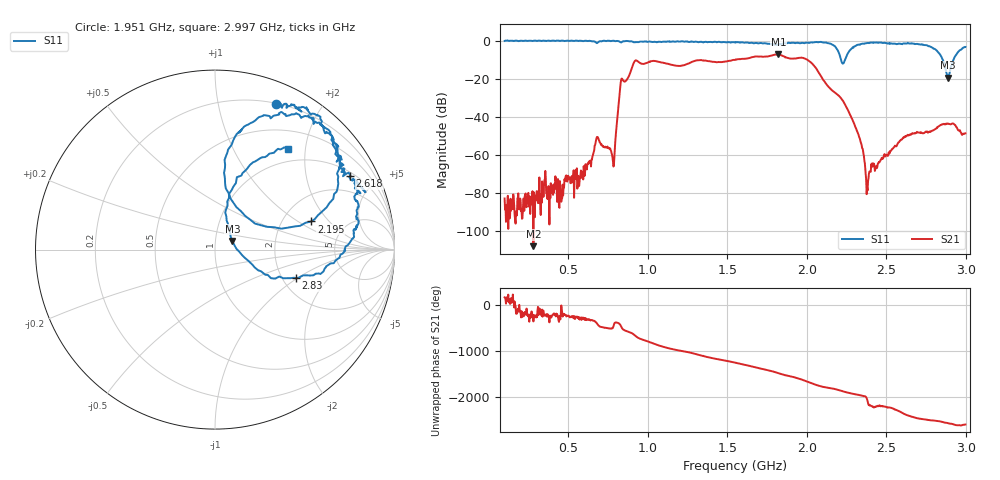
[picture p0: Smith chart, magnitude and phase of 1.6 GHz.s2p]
# HZ S RI R 50
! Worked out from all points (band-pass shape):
!   1009 points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, 100 MHz to 2.997 GHz, reference 50 ohm
!   highest |S21| = -7.00 dB at 1.822 GHz (marker M1); lowest = -108.0 dB at 281.1 MHz (marker M2)
!   |S21| within 3 dB of the highest: 1.537 GHz to 2.005 GHz (468.4 MHz wide, 26.4 % of centre)
!   lowest |S11| = -19.3 dB at 2.888 GHz (marker M3), VSWR 1.24, Z = 60.4 + j5.8 ohm
!   |S11| at or under -10 dB: 2.215 GHz to 2.24 GHz (24.77 MHz wide, 1.11 % of centre); 2.856 GHz to 2.921 GHz (65.7 MHz wide, 2.27 % of centre)
!   S12 and S22 are empty: the file has one direction only
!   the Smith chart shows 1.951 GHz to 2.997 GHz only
!   S11 on the Smith chart (normalised r, x): 1.951 GHz: 0.20, +1.49; 2.195 GHz: 2.87, +1.31; 2.618 GHz: 1.17, +3.58; 2.83 GHz: 2.37, -0.97; 2.997 GHz: 0.77, +1.68
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1e8  -0.9957 0.1035  -6.7e-05 2.6e-05  0 0  0 0
2.810704e8  -0.9715 0.2896  4e-06 0  0 0  0 0
5.828543e8  -0.8288 0.5789  0.000212 0.000133  0 0  0 0
6.805749e8  -0.6645 0.5719  0.00217 -0.00204  0 0  0 0
7.811695e8  -0.6914 0.7393  -0.00049 -0.000481  0 0  0 0
8.329039e8  -0.5875 0.6953  -0.0329 -0.0897  0 0  0 0
9.162538e8  -0.5202 0.7668  0.1126 0.2641  0 0  0 0
1.065709e9  -0.4481 0.8378  -0.257 -0.1255  0 0  0 0
1.321507e9  -0.1896 0.915  0.3107 -0.0127  0 0  0 0
1.548563e9  0.0347 0.9126  -0.3116 -0.0644  0 0  0 0
1.686521e9  0.147 0.8684  0.0481 0.3886  0 0  0 0
1.821606e9  0.2127 0.7811  0.3663 -0.2554  0 0  0 0
1.950942e9  0.3423 0.8128  -0.3191 -0.166  0 0  0 0
2.031417e9  0.4426 0.8065  -0.0665 0.2507  0 0  0 0
2.195243e9  0.537 0.1569  0.032 -0.0204  0 0  0 0
2.321705e9  0.2704 0.7491  -0.0029 -0.00223  0 0  0 0
2.382062e9  0.4654 0.7531  2e-05 0.000115  0 0  0 0
2.514272e9  0.6931 0.5246  0.000664 -0.000946  0 0  0 0
2.617741e9  0.7524 0.4088  -0.00278 0.00106  0 0  0 0
2.830426e9  0.4522 -0.1585  0.00568 0.000862  0 0  0 0
2.887909e9  0.0968 0.0475  0.00548 -0.00385  0 0  0 0
2.997126e9  0.4073 0.5627  0.00172 -0.0033  0 0  0 0
